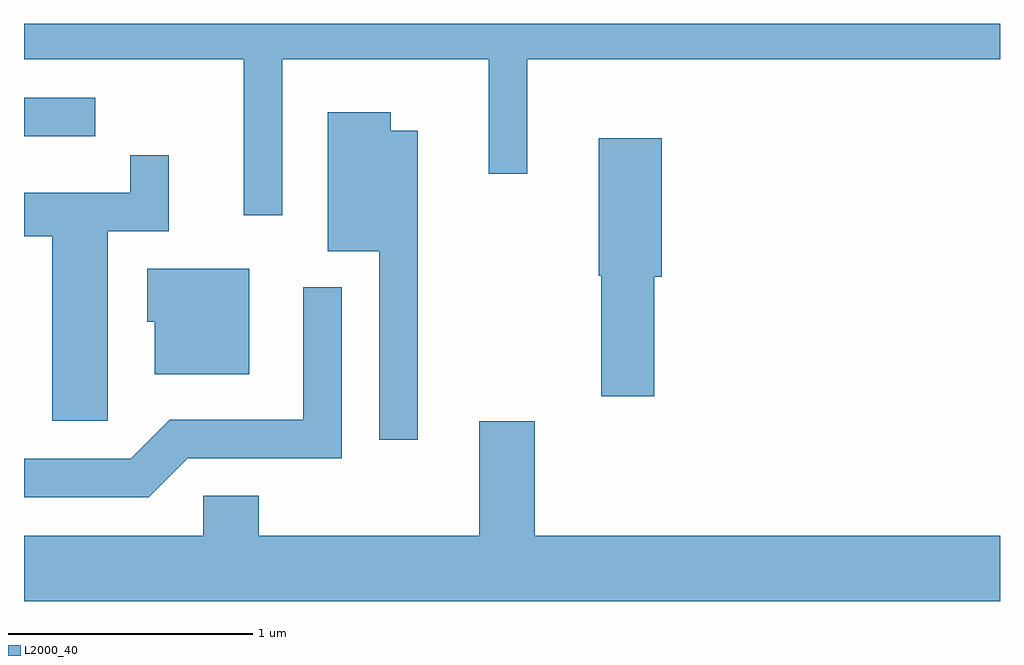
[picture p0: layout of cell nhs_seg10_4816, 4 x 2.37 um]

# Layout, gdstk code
import gdstk
lib = gdstk.Library(unit=1e-6, precision=1e-09)
def R(c, l, rs):  # rectangles x0, y0, x1, y1
    for r in rs: c.add(gdstk.rectangle(r[:2], r[2:], *l))
def P(c, l, *ps):  # polygons
    for p in ps: c.add(gdstk.Polygon(p, *l))
L2000_40 = (2000, 40)

nhs_seg10_4816 = lib.new_cell('nhs_seg10_4816')
R(nhs_seg10_4816, L2000_40, [(327.611,2098.061,327.903,2098.219)])
P(nhs_seg10_4816, L2000_40, [(328.669,2098.376),(329.516,2098.376),(329.516,2097.908),(329.674,2097.908),(329.674,2098.376),(331.611,2098.376),(331.611,2098.522),(327.611,2098.522),(327.611,2098.376),(328.511,2098.376),(328.511,2097.738),(328.669,2097.738)],
  [(329.224,2098.084),(329.114,2098.084),(329.114,2098.159),(328.856,2098.159),(328.856,2097.591),(329.066,2097.591),(329.066,2096.818),(329.224,2096.818)],
  [(330.194,2097.486),(330.224,2097.486),(330.224,2098.054),(329.966,2098.054),(329.966,2097.49),(329.976,2097.49),(329.976,2096.996),(330.194,2096.996)],
  [(327.954,2097.671),(328.204,2097.671),(328.204,2097.983),(328.046,2097.983),(328.046,2097.829),(327.611,2097.829),(327.611,2097.651),(327.726,2097.651),(327.726,2096.896),(327.954,2096.896)],
  [(328.534,2097.519),(328.116,2097.519),(328.116,2097.301),(328.146,2097.301),(328.146,2097.086),(328.534,2097.086)],
  [(328.282,2096.741),(328.914,2096.741),(328.914,2097.443),(328.756,2097.443),(328.756,2096.899),(328.209,2096.899),(328.049,2096.739),(327.611,2096.739),(327.611,2096.581),(328.122,2096.581)],
  [(331.611,2096.424),(329.704,2096.424),(329.704,2096.894),(329.476,2096.894),(329.476,2096.424),(328.574,2096.424),(328.574,2096.589),(328.346,2096.589),(328.346,2096.424),(327.611,2096.424),(327.611,2096.156),(331.611,2096.156)])

lib.write_gds('nhs_seg10_4816.gds')
